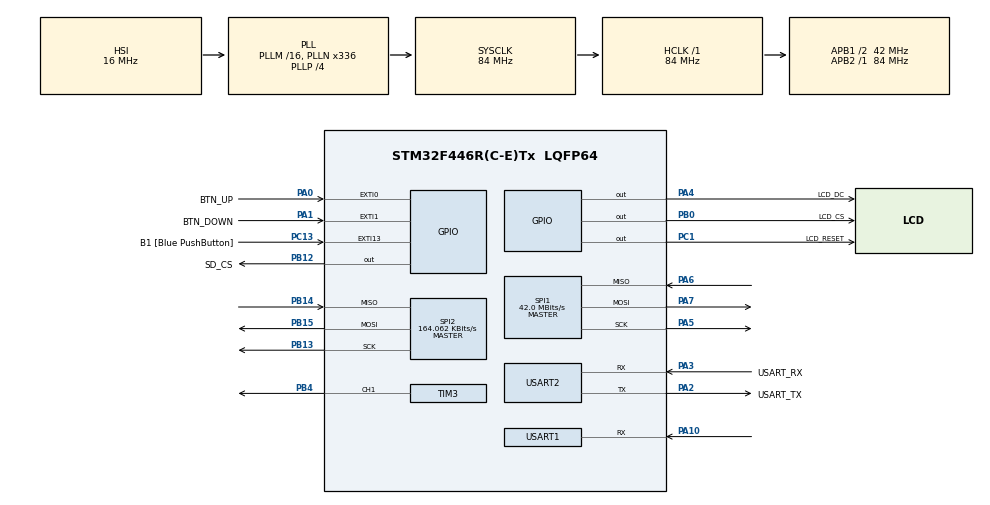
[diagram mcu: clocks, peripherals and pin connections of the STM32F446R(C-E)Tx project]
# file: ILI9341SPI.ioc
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Mcu.Family=STM32F4
Mcu.Name=STM32F446R(C-E)Tx
Mcu.Package=LQFP64
NVIC.PriorityGroup=NVIC_PRIORITYGROUP_4
NVIC.TIM7_IRQn=true\:0\:0\:false\:false\:true\:true\:true\:true
PA0-WKUP.GPIO_Label=BTN_UP
PA0-WKUP.GPIO_PuPd=GPIO_PULLUP
PA0-WKUP.Signal=GPXTI0
PA1.GPIO_Label=BTN_DOWN
PA1.GPIO_PuPd=GPIO_PULLUP
PA1.Signal=GPXTI1
PA13.GPIO_Label=TMS
PA13.Mode=Serial_Wire
PA13.Signal=SYS_JTMS-SWDIO
PA14.GPIO_Label=TCK
PA14.Mode=Serial_Wire
PA14.Signal=SYS_JTCK-SWCLK
PA2.GPIO_Label=USART_TX
PA2.Mode=Asynchronous
PA2.Signal=USART2_TX
PA3.GPIO_Label=USART_RX
PA3.Mode=Asynchronous
PA3.Signal=USART2_RX
PA4.GPIO_Label=LCD_DC
PA4.GPIO_Speed=GPIO_SPEED_FREQ_MEDIUM
PA4.Signal=GPIO_Output
PA5.Mode=Full_Duplex_Master
PA5.Signal=SPI1_SCK
PA6.Mode=Full_Duplex_Master
PA6.Signal=SPI1_MISO
PA7.Mode=Full_Duplex_Master
PA7.Signal=SPI1_MOSI
PB0.GPIO_Label=LCD_CS
PB0.GPIO_Speed=GPIO_SPEED_FREQ_MEDIUM
PB0.Signal=GPIO_Output
PB3.GPIO_Label=SWO
PB3.Signal=SYS_JTDO-SWO
PB4.Signal=S_TIM3_CH1
PB12.PinState=GPIO_PIN_SET
PB12.GPIO_Label=SD_CS
PB12.GPIO_Speed=GPIO_SPEED_FREQ_MEDIUM
PB12.Signal=GPIO_Output
PC1.GPIO_Label=LCD_RESET
PC1.GPIO_Speed=GPIO_SPEED_FREQ_MEDIUM
PC1.Signal=GPIO_Output
PC13.GPIO_Label=B1 [Blue PushButton]
PC13.GPIO_ModeDefaultEXTI=GPIO_MODE_IT_FALLING
PC13.Signal=GPXTI13
PC14-OSC32_IN.Mode=LSE-External-Oscillator
PC14-OSC32_IN.Signal=RCC_OSC32_IN
PC15-OSC32_OUT.Mode=LSE-External-Oscillator
PC15-OSC32_OUT.Signal=RCC_OSC32_OUT
PH0-OSC_IN.Mode=HSE-External-Oscillator
PH0-OSC_IN.Signal=RCC_OSC_IN
PH1-OSC_OUT.Mode=HSE-External-Oscillator
PH1-OSC_OUT.Signal=RCC_OSC_OUT
ProjectManager.HeapSize=0x200
ProjectManager.StackSize=0x400
ProjectManager.TargetToolchain=STM32CubeIDE
RCC.48MHZClocksFreq_Value=84000000
RCC.AHBFreq_Value=84000000
RCC.APB1CLKDivider=RCC_HCLK_DIV2
RCC.APB1Freq_Value=42000000
RCC.APB1TimFreq_Value=84000000
RCC.APB2Freq_Value=84000000
RCC.APB2TimFreq_Value=84000000
RCC.CortexFreq_Value=84000000
RCC.FLatency-AdvancedSettings=FLASH_LATENCY_2
RCC.HCLKFreq_Value=84000000
RCC.HSE_VALUE=8000000
RCC.HSI_VALUE=16000000
RCC.PLLN=336
RCC.PLLP=RCC_PLLP_DIV4
RCC.SYSCLKFreq_VALUE=84000000
RCC.SYSCLKSource=RCC_SYSCLKSOURCE_PLLCLK
RCC.USBFreq_Value=168000000
RCC.VCOOutputFreq_Value=336000000
SH.S_TIM3_CH1.0=TIM3_CH1,PWM Generation1 CH1
SPI1.BaudRatePrescaler=SPI_BAUDRATEPRESCALER_2
SPI1.CalculateBaudRate=42.0 MBits/s
SPI1.Direction=SPI_DIRECTION_2LINES
SPI1.Mode=SPI_MODE_MASTER
SPI1.VirtualType=VM_MASTER
TIM3.AutoReloadPreload=TIM_AUTORELOAD_PRELOAD_ENABLE
TIM3.Channel-PWM\ Generation1\ CH1=TIM_CHANNEL_1
TIM3.Period=999
TIM3.Prescaler=83
TIM3.Pulse-PWM\ Generation1\ CH1=0
TIM7.Period=5249
USART2.VirtualMode=VM_ASYNC
VP_TIM3_VS_ClockSourceINT.Mode=Internal
VP_TIM7_VS_ClockSourceINT.Mode=Enable_Timer
board=NUCLEO-F446RE
PA10.GPIO_PuPd=GPIO_PULLUP
PA10.GPIO_Speed=GPIO_SPEED_FREQ_VERY_HIGH
PA10.Mode=Asynchronous
PA10.Signal=USART1_RX
PB13.Mode=Full_Duplex_Master
PB13.Signal=SPI2_SCK
PB14.Mode=Full_Duplex_Master
PB14.Signal=SPI2_MISO
PB15.Mode=Full_Duplex_Master
PB15.Signal=SPI2_MOSI
SPI2.VirtualType=VM_MASTER
SPI2.Mode=SPI_MODE_MASTER
SPI2.Direction=SPI_DIRECTION_2LINES
SPI2.BaudRatePrescaler=SPI_BAUDRATEPRESCALER_256
SPI2.CalculateBaudRate=164.062 KBits/s
USART1.VirtualMode=VM_ASYNC
USART1.BaudRate=115200
USART1.Mode=MODE_RX
NVIC.USART1_IRQn=true\:1\:0\:false\:false\:true\:true\:true\:true
# FatFs R0.12c integrado manualmente en Core/Src/ff.c y Core/Inc/ffconf.h.
# No activar otra instancia FatFs/diskio: fatfs_sd.c implementa la unidad 0 SPI2.
# SPI1 DMA2 Stream3 Channel3 sigue siendo propiedad de galaga_dma.c.

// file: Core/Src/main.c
/* USER CODE BEGIN Header */
/**
  ******************************************************************************
  * @file           : main.c
  * @brief          : Main program body
  ******************************************************************************
  * @attention
  *
  * Copyright (c) 2024 STMicroelectronics.
  * All rights reserved.
  *
  * This software is licensed under terms that can be found in the LICENSE file
  * in the root directory of this software component.
  * If no LICENSE file comes with this software, it is provided AS-IS.
  *
  ******************************************************************************
  */
/* USER CODE END Header */
#include "main.h"

/* USER CODE BEGIN Includes */
#include "galaga_records.h"
#include "galaga_recursos.h"
#include "galaga_juego.h"
#include "galaga_pantalla.h"
#include "ili9341.h"
/* USER CODE END Includes */

/* USER CODE BEGIN PTD */

/* Estados de la interfaz de usuario (maquina de estados principal). */
typedef enum
{
    UI_PORTADA,
    UI_MENU,
    UI_JUEGO,
    UI_RESULTADO
} EstadoUI;

/* Estado de un boton fisico con antirrebote por tiempo. */
typedef struct
{
    uint8_t  crudo;     /* Lectura instantanea del pin (1 = presionado)        */
    uint8_t  estable;   /* Lectura ya filtrada por el antirrebote              */
    uint32_t cambio;    /* Instante (ms) del ultimo cambio de la lectura cruda */
} BotonFiltrado;

/* USER CODE END PTD */

/* USER CODE BEGIN PD */

/* --- Tiempos de la interfaz --- */
#define ANTIRREBOTE_MS      30U     /* Tiempo minimo estable para aceptar un boton */
#define RESULTADO_MS        2500U   /* Duracion de la pantalla de resultado        */

/* --- Protocolo del control por UART: [INICIO][BOTONES][~BOTONES][FIN] --- */
#define CONTROL_INICIO      0xA5U
#define CONTROL_FIN         0x5AU
#define CONTROL_TIMEOUT_MS  250U    /* Sin paquetes validos en este tiempo: se sueltan los botones */

/* --- Mascara de bits del byte BOTONES --- */
#define CONTROL_IZQ         (1U << 0)
#define CONTROL_DER         (1U << 1)
#define CONTROL_ACCION      (1U << 2)
#define CONTROL_ATRAS       (1U << 3)
#define CONTROL_ARRIBA      (1U << 4)
#define CONTROL_ABAJO       (1U << 5)

/* USER CODE END PD */

SPI_HandleTypeDef hspi1;
SPI_HandleTypeDef hspi2;

TIM_HandleTypeDef htim3;
TIM_HandleTypeDef htim7;

UART_HandleTypeDef huart2;
UART_HandleTypeDef huart1;

/* USER CODE BEGIN PV */
// Tiempo real de partida, congelado al comenzar la celebracion.
static uint32_t inicioPartida, duracionVictoria;
static uint8_t tiempoCongelado;

/* --- Juego e interfaz --- */
static GJuego    juego;
static EstadoUI  estadoUI;
static uint8_t   nivelSeleccionado = 1;
static uint32_t  tiempoUI;          /* Instante en que se entro al estado actual */
static uint32_t  tiempoPaso;        /* Instante del siguiente paso de simulacion */
volatile uint32_t galagaPasosDescartados;

/* --- Botones fisicos --- */
static BotonFiltrado botonB1;
static BotonFiltrado botonIzq;
static BotonFiltrado botonDer;
static uint8_t b1Armado;            /* B1 ya fue soltado, se permite una nueva pulsacion */
static uint8_t b1Solicitado;        /* B1 fue presionado y espera a ser soltado          */
static uint8_t disparoPendiente;    /* Disparo solicitado, se consume en el siguiente paso */

/* --- Audio --- */
static uint32_t          notaActual = 0;
static uint32_t          inicioNota = 0;
static uint8_t           melodiaEnCurso = 0;
static const NotaGalaga *melodiaActual = melodiaGalaga;
static uint32_t          cantidadNotasActual = CANTIDAD_NOTAS_GALAGA;
static uint8_t           repetirMelodia = 1;

/* --- Control por UART (se escriben desde la interrupcion) --- */
static volatile uint8_t  uartRxByte;
static volatile uint8_t  controlRxEstado;
static volatile uint8_t  controlRxBotones;
static volatile uint8_t  controlBotones;
static volatile uint32_t controlUltimoPaquete;
static uint8_t           controlAnterior;

/* USER CODE END PV */

void SystemClock_Config(void);
static void MX_GPIO_Init(void);
static void MX_USART2_UART_Init(void);
static void MX_SPI1_Init(void);
static void MX_SPI2_Init(void);
static void MX_USART1_UART_Init(void);
static void MX_TIM3_Init(void);
static void MX_TIM7_Init(void);
/* USER CODE BEGIN PFP */

/* Audio */
void Audio_Iniciar(void);
void Audio_Detener(void);
void Audio_Actualizar(void);
static void Audio_TocarNota(uint16_t frecuencia);
static void Audio_Reproducir(const NotaGalaga *notas, uint32_t cantidad, uint8_t repetir);

/* Control por UART */
static void Control_Iniciar(void);
static void Control_ProcesarByte(uint8_t dato);

/* Botones e interfaz */
static uint8_t Boton_Actualizar(BotonFiltrado *b, GPIO_TypeDef *puerto, uint16_t pin, uint32_t ahora);
static void UI_Entrar(EstadoUI nuevo);
static void UI_Actualizar(void);

/* USER CODE END PFP */

/* USER CODE BEGIN 0 */

/* ==========================================================================
 *  AUDIO
 * ========================================================================== */

/**
  * @brief  Reproduce una nota por PWM en TIM3 (canal 1). Frecuencia 0 = silencio.
  * @param  frecuencia: Frecuencia de la nota en Hz.
  */
static void Audio_TocarNota(uint16_t frecuencia)
{
    // TIM3 recibe 84 MHz: PSC=83 produce un contador de 1 MHz.
    // Durante las pausas se mantiene el temporizador con CCR1=0.
    uint32_t periodo = 1000U;
    uint32_t pulso = 0U;

    if (frecuencia != 0U)
    {
        periodo = (1000000U + frecuencia / 2U) / frecuencia;
        pulso = periodo / 2U;   /* Ciclo de trabajo del 50 % */
    }

    // Carga ARR y CCR1 juntos para evitar un ciclo con valores mezclados.
    CLEAR_BIT(htim3.Instance->CR1, TIM_CR1_CEN);
    __HAL_TIM_SET_AUTORELOAD(&htim3, periodo - 1U);
    __HAL_TIM_SET_COMPARE(&htim3, TIM_CHANNEL_1, pulso);
    __HAL_TIM_SET_COUNTER(&htim3, 0U);
    htim3.Instance->EGR = TIM_EGR_UG;
    __HAL_TIM_CLEAR_FLAG(&htim3, TIM_FLAG_UPDATE);

    if (melodiaEnCurso)
    {
        __HAL_TIM_ENABLE(&htim3);
    }
}

/**
  * @brief  Inicia la melodia principal de Galaga en modo repetitivo.
  */
void Audio_Iniciar(void)
{
    Audio_Reproducir(melodiaGalaga, CANTIDAD_NOTAS_GALAGA, 1U);
}

/**
  * @brief  Comienza a reproducir una melodia.
  * @param  notas: Arreglo de notas (frecuencia y duracion).
  * @param  cantidad: Numero de notas del arreglo.
  * @param  repetir: 1 = repetir en bucle, 0 = reproducir una sola vez.
  */
static void Audio_Reproducir(const NotaGalaga *notas, uint32_t cantidad, uint8_t repetir)
{
    if (melodiaEnCurso) Audio_Detener();
    if (notas == NULL || cantidad == 0U) return;

    melodiaActual = notas;
    cantidadNotasActual = cantidad;
    repetirMelodia = repetir;
    notaActual = 0U;
    melodiaEnCurso = 0U;

    // Se conserva esta configuracion aunque CubeMX regenere PSC=0.
    __HAL_TIM_SET_PRESCALER(&htim3, 83U);
    Audio_TocarNota(melodiaActual[notaActual].frecuencia);

    if (HAL_TIM_PWM_Start(&htim3, TIM_CHANNEL_1) != HAL_OK)
    {
        Error_Handler();
    }

    inicioNota = HAL_GetTick();
    melodiaEnCurso = 1U;
}

/**
  * @brief  Avanza la melodia segun el tiempo (no bloqueante). Se llama en cada
  *         vuelta del bucle principal.
  */
void Audio_Actualizar(void)
{
    if (!melodiaEnCurso)
    {
        return;
    }

    uint32_t ahora = HAL_GetTick();

    // La resta sin signo funciona tambien al desbordarse HAL_GetTick.
    if ((uint32_t)(ahora - inicioNota) >= melodiaActual[notaActual].duracion)
    {
        notaActual++;
        if (notaActual >= cantidadNotasActual)
        {
            if (!repetirMelodia)
            {
                Audio_Detener();
                return;
            }
            notaActual = 0U;
        }

        Audio_TocarNota(melodiaActual[notaActual].frecuencia);
        inicioNota = ahora;
    }
}

/**
  * @brief  Detiene la melodia y apaga la salida PWM.
  */
void Audio_Detener(void)
{
    melodiaEnCurso = 0U;
    __HAL_TIM_SET_COMPARE(&htim3, TIM_CHANNEL_1, 0U);
    htim3.Instance->EGR = TIM_EGR_UG;
    if (HAL_TIM_PWM_Stop(&htim3, TIM_CHANNEL_1) != HAL_OK)
    {
        Error_Handler();
    }
    __HAL_TIM_CLEAR_FLAG(&htim3, TIM_FLAG_UPDATE);
    __HAL_TIM_SET_COUNTER(&htim3, 0U);
    notaActual = 0U;
}

/* ==========================================================================
 *  CONTROL POR UART (paquete: INICIO, BOTONES, ~BOTONES, FIN)
 * ========================================================================== */

/**
  * @brief  Reinicia el estado del control y habilita la recepcion por interrupcion.
  */
static void Control_Iniciar(void)
{
    controlRxEstado = 0U;
    controlRxBotones = 0U;
    controlBotones = 0U;
    controlAnterior = 0U;
    controlUltimoPaquete = HAL_GetTick();

    HAL_NVIC_SetPriority(USART1_IRQn, 1U, 0U);
    HAL_NVIC_EnableIRQ(USART1_IRQn);

    if (HAL_UART_Receive_IT(&huart1,
                            (uint8_t *)&uartRxByte, 1U) != HAL_OK)
    {
        Error_Handler();
    }
}

/**
  * @brief  Maquina de estados que valida cada byte recibido del control.
  *         0: espera INICIO | 1: recibe BOTONES | 2: valida ~BOTONES | 3: espera FIN
  * @param  dato: Byte recibido por la UART.
  */
static void Control_ProcesarByte(uint8_t dato)
{
    switch (controlRxEstado)
    {
        case 0:
            if (dato == CONTROL_INICIO)
            {
                controlRxEstado = 1U;
            }
            break;

        case 1:
            controlRxBotones = dato;
            controlRxEstado = 2U;
            break;

        case 2:
            if (dato == (uint8_t)(~controlRxBotones))
            {
                controlRxEstado = 3U;
            }
            else
            {
                controlRxEstado = (dato == CONTROL_INICIO) ? 1U : 0U;
            }
            break;

        case 3:
            if (dato == CONTROL_FIN)
            {
                controlBotones = controlRxBotones;
                controlUltimoPaquete = HAL_GetTick();
            }

            controlRxEstado = 0U;
            break;

        default:
            controlRxEstado = 0U;
            break;
    }
}

/* ==========================================================================
 *  BOTONES
 * ========================================================================== */

/**
  * @brief  Filtra pulsaciones de los tres botones sin detener el bucle.
  * @param  b: Estado del boton a actualizar.
  * @param  puerto: Puerto GPIO del boton.
  * @param  pin: Pin del boton.
  * @param  ahora: Tiempo actual en ms.
  * @retval Valor estable del boton cuando este cambia; 0 si no hubo cambio.
  */
static uint8_t Boton_Actualizar(BotonFiltrado *b, GPIO_TypeDef *puerto, uint16_t pin, uint32_t ahora)
{
    uint8_t lectura = HAL_GPIO_ReadPin(puerto, pin) == GPIO_PIN_RESET;

    if (lectura != b->crudo)
    {
        b->crudo = lectura;
        b->cambio = ahora;
    }

    if (b->estable != b->crudo && (uint32_t)(ahora - b->cambio) >= ANTIRREBOTE_MS)
    {
        b->estable = b->crudo;
        return b->estable;
    }

    return 0;
}

/* ==========================================================================
 *  INTERFAZ DE USUARIO
 * ========================================================================== */

/**
  * @brief  Cambia de estado de la interfaz y ejecuta las acciones de entrada.
  * @param  nuevo: Estado al que se desea entrar.
  */
static void UI_Entrar(EstadoUI nuevo)
{
    estadoUI = nuevo;
    b1Armado = 0;
    b1Solicitado = 0;
    disparoPendiente = 0;

    if (nuevo == UI_PORTADA)
    {
        GP_Portada();
        Audio_Iniciar();
    }
    else if (nuevo == UI_MENU)
    {
        GR_Comprobar();
        GP_Menu(nivelSeleccionado);
        if (!melodiaEnCurso) Audio_Iniciar();
    }
    else if (nuevo == UI_JUEGO)
    {
        if (melodiaEnCurso) Audio_Detener();

        G_Iniciar(&juego, nivelSeleccionado);
        GP_PrepararJuego();
        GP_Dibujar(&juego);
        GP_Esperar();

        tiempoPaso = HAL_GetTick();
        inicioPartida = tiempoPaso;
        duracionVictoria = 0;
        tiempoCongelado = 0;
    }
    else    /* UI_RESULTADO */
    {
        if (melodiaEnCurso) Audio_Detener();

        // Esperar el ultimo dibujo y guardar antes de iniciar la melodia.
        GP_Esperar();
        uint8_t nuevoRecord = 0;
        if (juego.resultado == G_VICTORIA && tiempoCongelado)
            nuevoRecord = GR_GuardarVictoria(juego.nivel, duracionVictoria);
        GP_Resultado(juego.resultado == G_VICTORIA);
        GP_RecordResultado(juego.resultado == G_VICTORIA, duracionVictoria, nuevoRecord);

        if (juego.resultado == G_VICTORIA)
            Audio_Reproducir(melodiaVictoria, CANTIDAD_NOTAS_VICTORIA, 0);
        else
            Audio_Reproducir(melodiaGameOver, CANTIDAD_NOTAS_GAMEOVER, 0);
    }

    tiempoUI = HAL_GetTick();
}

/**
  * @brief  Actualiza la interfaz segun el estado actual. Se llama en cada vuelta
  *         del bucle principal (no bloqueante).
  */
static void UI_Actualizar(void)
{
    GP_Servicio();

    uint32_t ahora = HAL_GetTick();

    /* Si el control deja de enviar paquetes, se sueltan todos sus botones. */
    if ((uint32_t)(ahora - controlUltimoPaquete) > CONTROL_TIMEOUT_MS)
    {
        controlBotones = 0U;
    }

    /* Estado actual del control y deteccion de flancos de pulsacion nueva. */
    uint8_t controlActual = controlBotones;
    uint8_t controlIzq = (controlActual & CONTROL_IZQ) != 0U;
    uint8_t controlDer = (controlActual & CONTROL_DER) != 0U;
    uint8_t controlAccion = (controlActual & CONTROL_ACCION) != 0U;

    uint8_t controlIzqNuevo = controlIzq && !(controlAnterior & CONTROL_IZQ);
    uint8_t controlDerNuevo = controlDer && !(controlAnterior & CONTROL_DER);
    uint8_t controlAccionNuevo = controlAccion && !(controlAnterior & CONTROL_ACCION);

    controlAnterior = controlActual;

    /* Botones fisicos con antirrebote. */
    uint8_t b1 = Boton_Actualizar(&botonB1, B1_GPIO_Port, B1_Pin, ahora);
    uint8_t izq = Boton_Actualizar(&botonIzq, BTN_UP_GPIO_Port, BTN_UP_Pin, ahora);
    uint8_t der = Boton_Actualizar(&botonDer, BTN_DOWN_GPIO_Port, BTN_DOWN_Pin, ahora);

    Audio_Actualizar();

    /* ---------------- Portada y menu ---------------- */
    if (estadoUI == UI_PORTADA || estadoUI == UI_MENU)
    {
        uint8_t menuIzq = izq || controlIzqNuevo;
        uint8_t menuDer = der || controlDerNuevo;

        /* Cambio de nivel (solo en el menu). */
        if (estadoUI == UI_MENU && menuIzq != menuDer)
        {
            if (menuIzq)
                nivelSeleccionado = (nivelSeleccionado == 1) ? 3 : nivelSeleccionado - 1;
            else
                nivelSeleccionado = (nivelSeleccionado == 3) ? 1 : nivelSeleccionado + 1;

            GP_Menu(nivelSeleccionado);
        }

        // El control de PlayStation confirma con una nueva pulsacion de X.
        if (controlAccionNuevo)
        {
            if (estadoUI == UI_PORTADA)
                UI_Entrar(UI_MENU);
            else
                UI_Entrar(UI_JUEGO);

            return;
        }

        // Confirmar al soltar; la misma pulsacion fisica nunca atraviesa dos menus.
        if (!botonB1.estable && !botonB1.crudo &&
            (uint32_t)(ahora - botonB1.cambio) >= ANTIRREBOTE_MS)
        {
            b1Armado = 1;
            if (b1Solicitado)
            {
                UI_Entrar(estadoUI == UI_PORTADA ? UI_MENU : UI_JUEGO);
                return;
            }
        }
        else if (b1 && b1Armado)
        {
            b1Solicitado = 1;
        }
    }
    /* ---------------- Juego ---------------- */
    else if (estadoUI == UI_JUEGO)
    {
        if (b1 || controlAccionNuevo)
            disparoPendiente = 1U;

        uint32_t pendientes = (uint32_t)(ahora - tiempoPaso) / G_PASO_MS;
        if (!pendientes)
            return;

        // Recuperar hasta tres pasos; descartar atrasos extremos evita una
        // espiral de actualizaciones si el bus o el debugger se detienen.
        if (pendientes > 3U)
        {
            galagaPasosDescartados += pendientes - 3U;
            tiempoPaso += (pendientes - 3U) * G_PASO_MS;
            pendientes = 3U;
        }

        GP_Marcar(&juego);

        for (uint32_t i = 0; i < pendientes; ++i)
        {
            GEntrada entrada =
            {
                botonIzq.estable || controlIzq,
                botonDer.estable || controlDer,
                disparoPendiente
            };

            disparoPendiente = 0U;
            G_Paso(&juego, entrada);
            // Eliminar la ultima amenaza congela el reloj antes del confeti final.
            if (!tiempoCongelado && juego.celebracion)
            {
                duracionVictoria = HAL_GetTick() - inicioPartida;
                tiempoCongelado = 1;
            }
            tiempoPaso += G_PASO_MS;

            if (juego.resultado != G_JUGANDO)
            {
                UI_Entrar(UI_RESULTADO);
                return;
            }
        }

        GP_Dibujar(&juego);
    }
    /* ---------------- Resultado ---------------- */
    else if (!melodiaEnCurso && (uint32_t)(ahora - tiempoUI) >= RESULTADO_MS)
    {
        UI_Entrar(UI_MENU);
    }
}

/* USER CODE END 0 */

int main(void)
{

  /* MCU Configuration--------------------------------------------------------*/

  /* Reset of all peripherals, Initializes the Flash interface and the Systick. */
  HAL_Init();

  /* Configure the system clock */
  SystemClock_Config();

  /* Initialize all configured peripherals */
  MX_GPIO_Init();
  MX_USART2_UART_Init();
  MX_SPI1_Init();
  MX_SPI2_Init();
  MX_USART1_UART_Init();
  MX_TIM3_Init();
  MX_TIM7_Init();
  /* USER CODE BEGIN 2 */

  /* Pantalla */
  LCD_Init();
  GP_Iniciar();

  /* Estado inicial de los botones: se lee el pin para evitar una pulsacion falsa al arrancar. */
  botonB1.crudo = botonB1.estable = (HAL_GPIO_ReadPin(B1_GPIO_Port, B1_Pin) == GPIO_PIN_RESET);
  botonIzq.crudo = botonIzq.estable = (HAL_GPIO_ReadPin(BTN_UP_GPIO_Port, BTN_UP_Pin) == GPIO_PIN_RESET);
  botonDer.crudo = botonDer.estable = (HAL_GPIO_ReadPin(BTN_DOWN_GPIO_Port, BTN_DOWN_Pin) == GPIO_PIN_RESET);
  botonB1.cambio = botonIzq.cambio = botonDer.cambio = HAL_GetTick();

  /* Control por UART y pantalla de portada */
  GR_Iniciar();
  Control_Iniciar();
  UI_Entrar(UI_PORTADA);

  /* USER CODE END 2 */

  /* Infinite loop */
  /* USER CODE BEGIN WHILE */
  while (1)
  {
    UI_Actualizar();
    /* USER CODE END WHILE */

  }
}

void SystemClock_Config(void)
{
  RCC_OscInitTypeDef RCC_OscInitStruct = {0};
  RCC_ClkInitTypeDef RCC_ClkInitStruct = {0};

  /** Configure the main internal regulator output voltage
  */
  __HAL_RCC_PWR_CLK_ENABLE();
  __HAL_PWR_VOLTAGESCALING_CONFIG(PWR_REGULATOR_VOLTAGE_SCALE3);

  /** Initializes the RCC Oscillators according to the specified parameters
  * in the RCC_OscInitTypeDef structure.
  */
  RCC_OscInitStruct.OscillatorType = RCC_OSCILLATORTYPE_HSI;
  RCC_OscInitStruct.HSIState = RCC_HSI_ON;
  RCC_OscInitStruct.HSICalibrationValue = RCC_HSICALIBRATION_DEFAULT;
  RCC_OscInitStruct.PLL.PLLState = RCC_PLL_ON;
  RCC_OscInitStruct.PLL.PLLSource = RCC_PLLSOURCE_HSI;
  RCC_OscInitStruct.PLL.PLLM = 16;
  RCC_OscInitStruct.PLL.PLLN = 336;
  RCC_OscInitStruct.PLL.PLLP = RCC_PLLP_DIV4;
  RCC_OscInitStruct.PLL.PLLQ = 2;
  RCC_OscInitStruct.PLL.PLLR = 2;
  if (HAL_RCC_OscConfig(&RCC_OscInitStruct) != HAL_OK)
  {
    Error_Handler();
  }

  /** Initializes the CPU, AHB and APB buses clocks
  */
  RCC_ClkInitStruct.ClockType = RCC_CLOCKTYPE_HCLK|RCC_CLOCKTYPE_SYSCLK
                              |RCC_CLOCKTYPE_PCLK1|RCC_CLOCKTYPE_PCLK2;
  RCC_ClkInitStruct.SYSCLKSource = RCC_SYSCLKSOURCE_PLLCLK;
  RCC_ClkInitStruct.AHBCLKDivider = RCC_SYSCLK_DIV1;
  RCC_ClkInitStruct.APB1CLKDivider = RCC_HCLK_DIV2;
  RCC_ClkInitStruct.APB2CLKDivider = RCC_HCLK_DIV1;

  if (HAL_RCC_ClockConfig(&RCC_ClkInitStruct, FLASH_LATENCY_2) != HAL_OK)
  {
    Error_Handler();
  }
}

// Configuracion reflejada en ILI9341SPI.ioc.
static void MX_SPI2_Init(void)
{
  hspi2.Instance = SPI2;
  hspi2.Init.Mode = SPI_MODE_MASTER;
  hspi2.Init.Direction = SPI_DIRECTION_2LINES;
  hspi2.Init.DataSize = SPI_DATASIZE_8BIT;
  hspi2.Init.CLKPolarity = SPI_POLARITY_LOW;
  hspi2.Init.CLKPhase = SPI_PHASE_1EDGE;
  hspi2.Init.NSS = SPI_NSS_SOFT;
  hspi2.Init.BaudRatePrescaler = SPI_BAUDRATEPRESCALER_256;
  hspi2.Init.FirstBit = SPI_FIRSTBIT_MSB;
  hspi2.Init.TIMode = SPI_TIMODE_DISABLE;
  hspi2.Init.CRCCalculation = SPI_CRCCALCULATION_DISABLE;
  hspi2.Init.CRCPolynomial = 10;
  // FatFs comprueba la inicializacion; un fallo SD no detiene el juego.
  HAL_SPI_Init(&hspi2);
}

static void MX_USART1_UART_Init(void)
{
  huart1.Instance = USART1;
  huart1.Init.BaudRate = 115200;
  huart1.Init.WordLength = UART_WORDLENGTH_8B;
  huart1.Init.StopBits = UART_STOPBITS_1;
  huart1.Init.Parity = UART_PARITY_NONE;
  huart1.Init.Mode = UART_MODE_RX;
  huart1.Init.HwFlowCtl = UART_HWCONTROL_NONE;
  huart1.Init.OverSampling = UART_OVERSAMPLING_16;
  if (HAL_UART_Init(&huart1) != HAL_OK) Error_Handler();
}

static void MX_SPI1_Init(void)
{

  /* SPI1 parameter configuration*/
  hspi1.Instance = SPI1;
  hspi1.Init.Mode = SPI_MODE_MASTER;
  hspi1.Init.Direction = SPI_DIRECTION_2LINES;
  hspi1.Init.DataSize = SPI_DATASIZE_8BIT;
  hspi1.Init.CLKPolarity = SPI_POLARITY_LOW;
  hspi1.Init.CLKPhase = SPI_PHASE_1EDGE;
  hspi1.Init.NSS = SPI_NSS_SOFT;
  hspi1.Init.BaudRatePrescaler = SPI_BAUDRATEPRESCALER_2;
  hspi1.Init.FirstBit = SPI_FIRSTBIT_MSB;
  hspi1.Init.TIMode = SPI_TIMODE_DISABLE;
  hspi1.Init.CRCCalculation = SPI_CRCCALCULATION_DISABLE;
  hspi1.Init.CRCPolynomial = 10;
  if (HAL_SPI_Init(&hspi1) != HAL_OK)
  {
    Error_Handler();
  }

}

static void MX_TIM3_Init(void)
{

  TIM_ClockConfigTypeDef sClockSourceConfig = {0};
  TIM_MasterConfigTypeDef sMasterConfig = {0};
  TIM_OC_InitTypeDef sConfigOC = {0};

  htim3.Instance = TIM3;
  htim3.Init.Prescaler = 83;
  htim3.Init.CounterMode = TIM_COUNTERMODE_UP;
  htim3.Init.Period = 999;
  htim3.Init.ClockDivision = TIM_CLOCKDIVISION_DIV1;
  htim3.Init.AutoReloadPreload = TIM_AUTORELOAD_PRELOAD_ENABLE;
  if (HAL_TIM_Base_Init(&htim3) != HAL_OK)
  {
    Error_Handler();
  }
  sClockSourceConfig.ClockSource = TIM_CLOCKSOURCE_INTERNAL;
  if (HAL_TIM_ConfigClockSource(&htim3, &sClockSourceConfig) != HAL_OK)
  {
    Error_Handler();
  }
  if (HAL_TIM_PWM_Init(&htim3) != HAL_OK)
  {
    Error_Handler();
  }
  sMasterConfig.MasterOutputTrigger = TIM_TRGO_RESET;
  sMasterConfig.MasterSlaveMode = TIM_MASTERSLAVEMODE_DISABLE;
  if (HAL_TIMEx_MasterConfigSynchronization(&htim3, &sMasterConfig) != HAL_OK)
  {
    Error_Handler();
  }
  sConfigOC.OCMode = TIM_OCMODE_PWM1;
  sConfigOC.Pulse = 0;
  sConfigOC.OCPolarity = TIM_OCPOLARITY_HIGH;
  sConfigOC.OCFastMode = TIM_OCFAST_DISABLE;
  if (HAL_TIM_PWM_ConfigChannel(&htim3, &sConfigOC, TIM_CHANNEL_1) != HAL_OK)
  {
    Error_Handler();
  }
  HAL_TIM_MspPostInit(&htim3);

}

static void MX_TIM7_Init(void)
{

  TIM_MasterConfigTypeDef sMasterConfig = {0};

  htim7.Instance = TIM7;
  htim7.Init.Prescaler = 0;
  htim7.Init.CounterMode = TIM_COUNTERMODE_UP;
  htim7.Init.Period = 5249;
  htim7.Init.AutoReloadPreload = TIM_AUTORELOAD_PRELOAD_DISABLE;
  if (HAL_TIM_Base_Init(&htim7) != HAL_OK)
  {
    Error_Handler();
  }
  sMasterConfig.MasterOutputTrigger = TIM_TRGO_RESET;
  sMasterConfig.MasterSlaveMode = TIM_MASTERSLAVEMODE_DISABLE;
  if (HAL_TIMEx_MasterConfigSynchronization(&htim7, &sMasterConfig) != HAL_OK)
  {
    Error_Handler();
  }

}

static void MX_USART2_UART_Init(void)
{

  huart2.Instance = USART2;
  huart2.Init.BaudRate = 115200;
  huart2.Init.WordLength = UART_WORDLENGTH_8B;
  huart2.Init.StopBits = UART_STOPBITS_1;
  huart2.Init.Parity = UART_PARITY_NONE;
  huart2.Init.Mode = UART_MODE_TX_RX;
  huart2.Init.HwFlowCtl = UART_HWCONTROL_NONE;
  huart2.Init.OverSampling = UART_OVERSAMPLING_16;
  if (HAL_UART_Init(&huart2) != HAL_OK)
  {
    Error_Handler();
  }

}

static void MX_GPIO_Init(void)
{
  GPIO_InitTypeDef GPIO_InitStruct = {0};

  /* GPIO Ports Clock Enable */
  __HAL_RCC_GPIOC_CLK_ENABLE();
  __HAL_RCC_GPIOH_CLK_ENABLE();
  __HAL_RCC_GPIOA_CLK_ENABLE();
  __HAL_RCC_GPIOB_CLK_ENABLE();

  /*Configure GPIO pin Output Level */
  HAL_GPIO_WritePin(LCD_RESET_GPIO_Port, LCD_RESET_Pin, GPIO_PIN_RESET);

  /*Configure GPIO pin Output Level */
  HAL_GPIO_WritePin(LCD_DC_GPIO_Port, LCD_DC_Pin, GPIO_PIN_RESET);

  /*Configure GPIO pin Output Level */
  HAL_GPIO_WritePin(GPIOB, LCD_CS_Pin, GPIO_PIN_RESET);
  HAL_GPIO_WritePin(SD_CS_GPIO_Port, SD_CS_Pin, GPIO_PIN_SET);

  /*Configure GPIO pin : B1_Pin */
  GPIO_InitStruct.Pin = B1_Pin;
  GPIO_InitStruct.Mode = GPIO_MODE_IT_FALLING;
  GPIO_InitStruct.Pull = GPIO_NOPULL;
  HAL_GPIO_Init(B1_GPIO_Port, &GPIO_InitStruct);

  /*Configure GPIO pin : LCD_RESET_Pin */
  GPIO_InitStruct.Pin = LCD_RESET_Pin;
  GPIO_InitStruct.Mode = GPIO_MODE_OUTPUT_PP;
  GPIO_InitStruct.Pull = GPIO_NOPULL;
  GPIO_InitStruct.Speed = GPIO_SPEED_FREQ_MEDIUM;
  HAL_GPIO_Init(LCD_RESET_GPIO_Port, &GPIO_InitStruct);

  /*Configure GPIO pins : BTN_UP_Pin BTN_DOWN_Pin */
  GPIO_InitStruct.Pin = BTN_UP_Pin|BTN_DOWN_Pin;
  GPIO_InitStruct.Mode = GPIO_MODE_IT_RISING;
  GPIO_InitStruct.Pull = GPIO_PULLUP;
  HAL_GPIO_Init(GPIOA, &GPIO_InitStruct);

  /*Configure GPIO pin : LCD_DC_Pin */
  GPIO_InitStruct.Pin = LCD_DC_Pin;
  GPIO_InitStruct.Mode = GPIO_MODE_OUTPUT_PP;
  GPIO_InitStruct.Pull = GPIO_NOPULL;
  GPIO_InitStruct.Speed = GPIO_SPEED_FREQ_MEDIUM;
  HAL_GPIO_Init(LCD_DC_GPIO_Port, &GPIO_InitStruct);

  /*Configure GPIO pins : LCD_CS_Pin SD_CS_Pin */
  GPIO_InitStruct.Pin = LCD_CS_Pin|SD_CS_Pin;
  GPIO_InitStruct.Mode = GPIO_MODE_OUTPUT_PP;
  GPIO_InitStruct.Pull = GPIO_NOPULL;
  GPIO_InitStruct.Speed = GPIO_SPEED_FREQ_MEDIUM;
  HAL_GPIO_Init(GPIOB, &GPIO_InitStruct);

}

/* USER CODE BEGIN 4 */

/**
  * @brief  Callback de recepcion completa de la UART: procesa el byte recibido
  *         y vuelve a habilitar la recepcion del siguiente.
  * @param  huart: Manejador de la UART que genero la interrupcion.
  */
void HAL_UART_RxCpltCallback(UART_HandleTypeDef *huart)
{
    if (huart->Instance == USART1)
    {
        Control_ProcesarByte(uartRxByte);

        HAL_UART_Receive_IT(&huart1,
                            (uint8_t *)&uartRxByte, 1U);
    }
}

void HAL_UART_ErrorCallback(UART_HandleTypeDef *huart)
{
    if (huart->Instance == USART1)
    {
        controlRxEstado = 0U;
        controlBotones = 0U;

        HAL_UART_Receive_IT(&huart1,
                            (uint8_t *)&uartRxByte, 1U);
    }
}
/* USER CODE END 4 */

void Error_Handler(void)
{
  __disable_irq();
  while (1)
  {
  }
}
